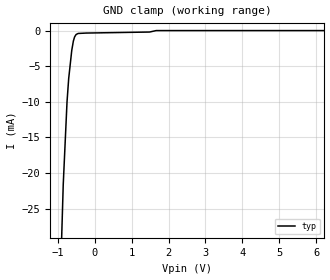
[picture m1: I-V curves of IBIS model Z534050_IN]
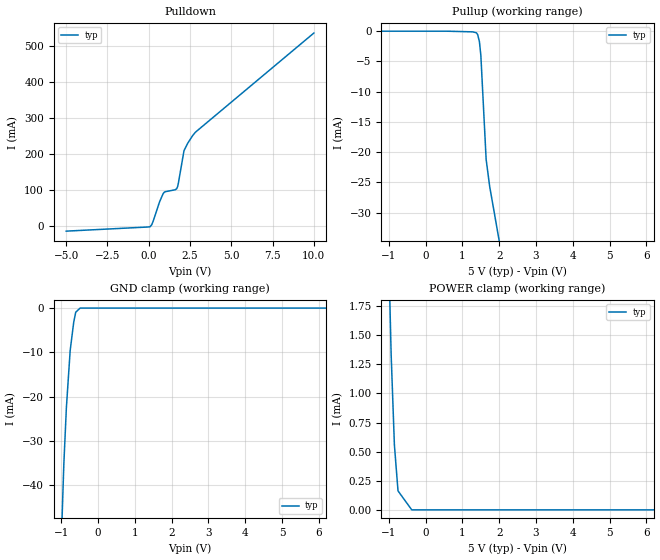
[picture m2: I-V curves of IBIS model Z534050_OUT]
| YOU ARE ONLY AUTHORIZED TO USE THIS SOFTWARE
| ACCORDING TO LICENSOR'S LICENSE RESTRICTIONS.
[IBIS Ver] 3.1
[File Name] mc74f04n.ibs
[File Rev] 2.0
[Source] Measured and created by ICX Technology
[Date] Friday 7/14/00 9:08:03 AM
[Copyright]
| (C) COPYRIGHT 1993-2000
| MENTOR GRAPHICS CORPORATION
| ICX STANDARD LIBRARY, ICX PROJECT MODELING,
| ICX CUSTOM MODELING, ICX VENDOR MODEL
| ALL RIGHTS RESERVED.
| THE FOLLOWING ARE TRADEMARKS OR SERVICE MARKS OF
| MENTOR GRAPHICS CORPORATION:ICX (R), ICX STANDARD
| LIBRARY(R), ICX PROJECT MODELING(R), ICX CUSTOM
| MODELING(R), qualityIBIS(TM), MODELVIEWER(TM),
| AND MODELEDITOR(TM)
| ALL COPIES OF SOFTWARE, INCLUDING BUT NOT LIMITED TO
| ANY MODIFICATIONS, ENHANCEMENTS OR DERIVATIVE WORKS,
| MUST CONTAIN ALL MENTOR GRAPHICS CORPORATION'S
| NOTICES AND LEGENDS, INCLUDING THOSE EMBEDDED IN
| SOFTWARE AND THOSE AFFIXED TO SOFTWARE MEDIUM
| AND CONTAINER, AS RECEIVED FROM MENTOR GRAPHICS
| CORPORATION.
|  ZAP Model Builder 2.7
[Component] MC74F04N
[Manufacturer] OnSemiconductor
[Package]
| variable   typ   min   max
R_pkg  .21ohms NA NA
L_pkg  4.543nH NA NA
C_pkg  1.059pF NA NA
[Pin] signal_name  model_name  R_pin  L_pin C_pin
1 A Z534050_IN .22 6.757n 1.432p
2 Y Z534050_OUT .212 4.757n 1.142p
3 A Z534050_IN .204 3.257n .852p
4 Y Z534050_OUT .196 2.257n .562p
5 A Z534050_IN .204 3.257n .852p
6 Y Z534050_OUT .212 4.757n 1.142p
7 GND GND .22 6.757n 1.432p
8 Y Z534050_OUT .22 6.757n 1.432p
9 A Z534050_IN .212 4.757n 1.142p
10 Y Z534050_OUT .204 3.257n .852p
11 A Z534050_IN .196 2.257n .562p
12 Y Z534050_OUT .204 3.257n .852p
13 A Z534050_IN .212 4.757n 1.142p
14 VCC POWER .22 6.757n 1.432p
| Models and submodels in the file (2): Z534050_IN (Input), Z534050_OUT (Output)
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| (C) COPYRIGHT 1993-2000
| MENTOR GRAPHICS CORPORATION
| ICX STANDARD LIBRARY, ICX PROJECT MODELING,
| ICX CUSTOM MODELING, ICX VENDOR MODEL
| ALL RIGHTS RESERVED.
| THE FOLLOWING ARE TRADEMARKS OR SERVICE MARKS OF
| MENTOR GRAPHICS CORPORATION:ICX (R), ICX STANDARD
| LIBRARY(R), ICX PROJECT MODELING(R), ICX CUSTOM
| MODELING(R), qualityIBIS(TM), MODELVIEWER(TM),
| AND MODELEDITOR(TM)
| ALL COPIES OF SOFTWARE, INCLUDING BUT NOT LIMITED TO
| ANY MODIFICATIONS, ENHANCEMENTS OR DERIVATIVE WORKS,
| MUST CONTAIN ALL MENTOR GRAPHICS CORPORATION'S
| NOTICES AND LEGENDS, INCLUDING THOSE EMBEDDED IN
| SOFTWARE AND THOSE AFFIXED TO SOFTWARE MEDIUM
| AND CONTAINER, AS RECEIVED FROM MENTOR GRAPHICS
| CORPORATION.
| Model Application Version 1.89 2/18/99.
[Model] Z534050_IN
Model_type Input
Vinl = 800.0mV
Vinh = 2.000V
C_comp 4.000pF NA NA
| variable typ   min   max
[Voltage Range] 5.000V NA NA
[GND Clamp Reference] 0.000V NA NA
[POWER Clamp Reference] 5.000V NA NA
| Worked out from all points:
|   GND clamp passes 1 mA (typ) near -0.55 V on its own axis
[GND Clamp]
-5V       -743.1mA   NA         NA
-849mV    -21.6mA    NA         NA
-746.7mV  -10mA      NA         NA
-701.9mV  -6.749mA   NA         NA
-619.2mV  -2.806mA   NA         NA
-575.6mV  -1.487mA   NA         NA
-541.8mV  -893.2uA   NA         NA
-501.1mV  -557.6uA   NA         NA
-444.3mV  -411.1uA   NA         NA
1.487V    -212.5uA   NA         NA
1.665V    -8.035uA   NA         NA
10V       -8.035uA   NA         NA
[POWER Clamp]
-5V       0A         NA         NA
10V       0A         NA         NA
| (C) COPYRIGHT 1993-2000
| MENTOR GRAPHICS CORPORATION
| ICX STANDARD LIBRARY, ICX PROJECT MODELING,
| ICX CUSTOM MODELING, ICX VENDOR MODEL
| ALL RIGHTS RESERVED.
| THE FOLLOWING ARE TRADEMARKS OR SERVICE MARKS OF
| MENTOR GRAPHICS CORPORATION:ICX (R), ICX STANDARD
| LIBRARY(R), ICX PROJECT MODELING(R), ICX CUSTOM
| MODELING(R), qualityIBIS(TM), MODELVIEWER(TM),
| AND MODELEDITOR(TM)
| ALL COPIES OF SOFTWARE, INCLUDING BUT NOT LIMITED TO
| ANY MODIFICATIONS, ENHANCEMENTS OR DERIVATIVE WORKS,
| MUST CONTAIN ALL MENTOR GRAPHICS CORPORATION'S
| NOTICES AND LEGENDS, INCLUDING THOSE EMBEDDED IN
| SOFTWARE AND THOSE AFFIXED TO SOFTWARE MEDIUM
| AND CONTAINER, AS RECEIVED FROM MENTOR GRAPHICS
| CORPORATION.
| Model Application Version 1.89 2/18/99.
[Model] Z534050_OUT
Model_type Output
Vref=0.000V
Rref=500.0ohms
Cref=50.00pF
Vmeas=1.500V
C_comp 8.000pF NA NA
| variable typ   min   max
[Voltage Range] 5.000V NA NA
[POWER Clamp Reference] 5.000V NA NA
[Pullup Reference] 5.000V NA NA
[Pulldown Reference] 0.000V NA NA
[GND Clamp Reference] 0.000V NA NA
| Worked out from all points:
|   slope of the pulldown table from 0 to 0.75 V, typ, clamps not added: 9.41 ohm
|   slope of the pullup table from 0 to 0.75 V, typ, clamps not added: 29.4 kohm
|   GND clamp passes 1 mA (typ) near -0.61 V on its own axis
|   POWER clamp passes 1 mA (typ) near -0.90 V on its own axis
[GND Clamp]
-5V       -1.754A    NA         NA
-1.121V   -94.35mA   NA         NA
-1.003V   -54.36mA   NA         NA
-927.3mV  -35.04mA   NA         NA
-859mV    -22.51mA   NA         NA
-756.1mV  -9.597mA   NA         NA
-659.2mV  -3.169mA   NA         NA
-605.4mV  -934.2uA   NA         NA
-484.3mV  0A         NA         NA
10V       0A         NA         NA
[Pulldown]
-5V       -13.15mA   NA         NA
87.89mV   -671.7uA   NA         NA
272.6mV   15.25mA    NA         NA
652.8mV   67.93mA    NA         NA
869.2mV   90.76mA    NA         NA
1.001V    96.22mA    NA         NA
1.694V    104.5mA    NA         NA
1.793V    119.7mA    NA         NA
2.134V    209.9mA    NA         NA
2.368V    231.2mA    NA         NA
2.667V    252.4mA    NA         NA
10V       536.1mA    NA         NA
[Pullup]
-5V       7.771uA    NA         NA
586mV     7.771uA    NA         NA
1.279V    -99.95uA   NA         NA
1.382V    -251.6uA   NA         NA
1.417V    -543uA     NA         NA
1.465V    -1.725mA   NA         NA
1.504V    -4.05mA    NA         NA
1.647V    -21.17mA   NA         NA
1.743V    -25.65mA   NA         NA
10V       -312mA     NA         NA
[POWER Clamp]
-5V       63.34mA    NA         NA
-1.111V   3.643mA    NA         NA
-933mV    1.333mA    NA         NA
-845mV    558.5uA    NA         NA
-747mV    163.1uA    NA         NA
-373.5mV  0A         NA         NA
10V       0A         NA         NA
[Ramp]
| variable typ min max
dV/dt_r 2.026/2.474n NA NA
dV/dt_f 2.026/430.0p NA NA
R_load = 500.0Ohms
